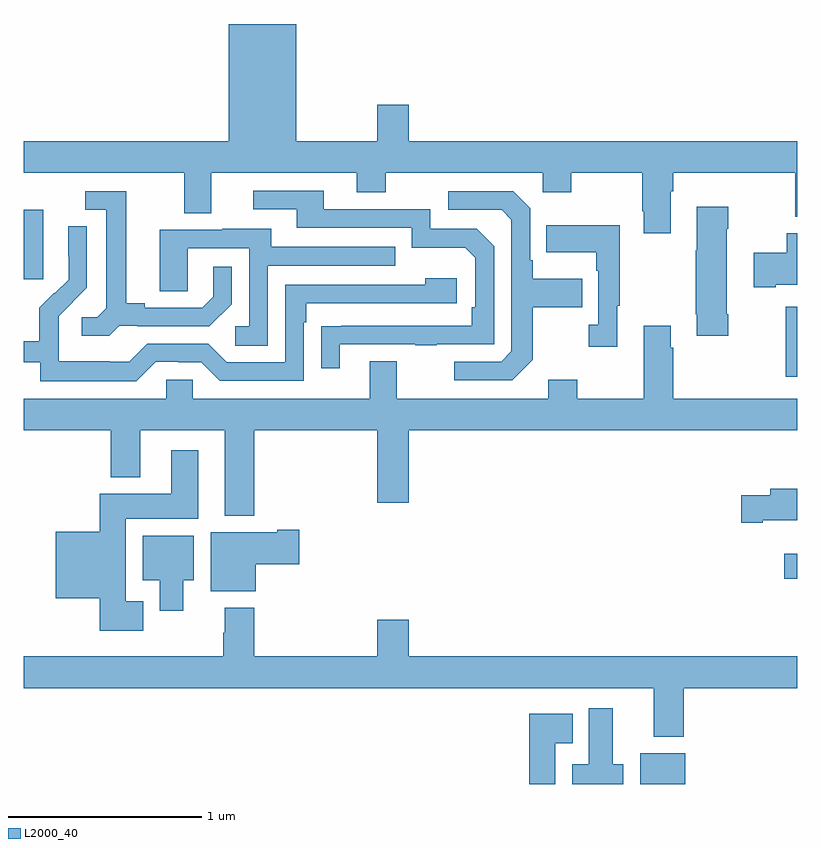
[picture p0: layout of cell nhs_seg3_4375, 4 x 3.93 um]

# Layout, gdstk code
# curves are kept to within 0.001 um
import gdstk
lib = gdstk.Library(unit=1e-6, precision=1e-09)
def R(c, l, rs):  # rectangles x0, y0, x1, y1
    for r in rs: c.add(gdstk.rectangle(r[:2], r[2:], *l))
def P(c, l, *ps):  # polygons
    for p in ps: c.add(gdstk.Polygon(p, *l))
L2000_40 = (2000, 40)

nhs_seg3_4375 = lib.new_cell('nhs_seg3_4375')
R(nhs_seg3_4375, L2000_40, [(346.187,720.4,346.42,720.559), (346.932,721.462,347,721.591), (346.94,722.507,347,722.869), (343,723.009,343.102,723.37)])
P(nhs_seg3_4375, L2000_40, [(344.992,723.913),(344.828,723.913),(344.828,723.724),(344.41,723.724),(344.41,724.33),(344.06,724.33),(344.06,723.724),(343,723.724),(343,723.56),(343.829,723.56),(343.829,723.352),(343.969,723.352),(343.969,723.56),(344.723,723.56),(344.723,723.461),(344.871,723.461),(344.871,723.56),(345.684,723.56),(345.684,723.461),(345.831,723.461),(345.831,723.56),(346.198,723.56),(346.198,723.361),(346.205,723.361),(346.205,723.249),(346.345,723.249),(346.345,723.464),(346.358,723.464),(346.358,723.56),(346.989,723.56),(346.989,723.332),(347,723.332),(347,723.724),(344.992,723.724)],
  [(344.635,722.673),(345.025,722.673),(345.025,722.668),(345.137,722.668),(345.137,722.673),(345.432,722.673),(345.432,723.18),(345.342,723.27),(345.102,723.27),(345.102,723.372),(344.551,723.372),(344.551,723.468),(344.187,723.468),(344.187,723.372),(344.411,723.372),(344.411,723.276),(345.006,723.276),(345.006,723.173),(345.283,723.173),(345.336,723.12),(345.336,722.866),(345.316,722.866),(345.316,722.769),(344.539,722.768),(344.539,722.55),(344.635,722.55)],
  [(343.494,722.769),(343.588,722.769),(343.588,722.766),(343.96,722.766),(344.076,722.882),(344.076,723.076),(343.979,723.076),(343.979,722.919),(343.922,722.862),(343.627,722.862),(343.627,722.885),(343.531,722.885),(343.531,723.465),(343.317,723.465),(343.317,723.369),(343.427,723.369),(343.427,722.861),(343.38,722.814),(343.299,722.814),(343.299,722.717),(343.442,722.717)],
  [(345.631,722.593),(345.631,722.866),(345.887,722.866),(345.887,723.013),(345.631,723.013),(345.631,723.109),(345.618,723.109),(345.618,723.378),(345.531,723.465),(345.195,723.465),(345.195,723.369),(345.471,723.369),(345.522,723.318),(345.522,722.637),(345.468,722.583),(345.225,722.583),(345.225,722.487),(345.525,722.487)],
  [(346.644,722.83),(346.636,722.83),(346.636,723.272),(346.644,723.272),(346.644,723.385),(346.481,723.385),(346.481,723.161),(346.474,723.161),(346.474,722.83),(346.481,722.83),(346.481,722.718),(346.644,722.718)],
  [(346.069,722.873),(346.081,722.873),(346.081,723.289),(345.703,723.289),(345.703,723.149),(345.96,723.149),(345.96,723.053),(345.972,723.053),(345.972,722.774),(345.921,722.774),(345.921,722.661),(346.069,722.661)],
  [(343.683,722.583),(343.799,722.583),(343.799,722.58),(343.917,722.58),(344.013,722.484),(344.448,722.484),(344.448,722.789),(344.461,722.789),(344.461,722.886),(345.238,722.886),(345.238,723.016),(345.077,723.016),(345.077,722.982),(344.352,722.982),(344.352,722.58),(344.049,722.58),(343.953,722.676),(343.638,722.676),(343.545,722.583),(343.445,722.583),(343.445,722.587),(343.182,722.587),(343.182,722.721),(343.18,722.721),(343.18,722.818),(343.326,722.966),(343.326,723.284),(343.23,723.284),(343.23,723.13),(343.232,723.13),(343.232,723.008),(343.161,722.937),(343.158,722.94),(343.081,722.863),(343.081,722.689),(343,722.689),(343,722.58),(343.086,722.58),(343.086,722.483),(343.583,722.483)],
  [(344.262,723.081),(344.921,723.081),(344.921,723.177),(344.281,723.177),(344.281,723.271),(344.027,723.271),(344.027,723.267),(343.703,723.267),(343.703,722.947),(343.848,722.947),(343.848,723.171),(344.166,723.171),(344.166,722.766),(344.094,722.766),(344.094,722.665),(344.262,722.665)],
  [(346.888,722.981),(347,722.981),(347,723.247),(346.945,723.247),(346.945,723.147),(346.776,723.147),(346.776,722.969),(346.888,722.969)],
  [(344.039,721.787),(344.192,721.787),(344.192,722.228),(344.828,722.228),(344.828,721.854),(344.992,721.854),(344.992,722.228),(347,722.228),(347,722.392),(346.358,722.392),(346.358,722.657),(346.345,722.657),(346.345,722.77),(346.205,722.77),(346.205,722.392),(345.861,722.392),(345.861,722.491),(345.713,722.491),(345.713,722.392),(344.929,722.392),(344.929,722.587),(344.789,722.587),(344.789,722.392),(343.875,722.392),(343.875,722.49),(343.737,722.49),(343.737,722.392),(343,722.392),(343,722.228),(343.451,722.228),(343.451,721.985),(343.603,721.985),(343.603,722.228),(344.039,722.228)],
  [(343.618,721.345),(343.528,721.345),(343.528,721.772),(343.903,721.772),(343.903,722.125),(343.763,722.125),(343.763,721.9),(343.394,721.9),(343.394,721.705),(343.166,721.705),(343.166,721.361),(343.394,721.361),(343.394,721.193),(343.618,721.193)],
  [(346.822,721.763),(347,721.763),(347,721.927),(346.859,721.927),(346.859,721.893),(346.71,721.893),(346.71,721.751),(346.822,721.751)],
  [(344.2,721.537),(344.425,721.537),(344.425,721.715),(344.312,721.715),(344.312,721.702),(343.967,721.702),(343.967,721.397),(344.2,721.397)],
  [(343.825,721.454),(343.879,721.454),(343.879,721.684),(343.616,721.684),(343.616,721.454),(343.703,721.454),(343.703,721.296),(343.825,721.296)],
  [(346.412,720.896),(347,720.896),(347,721.06),(344.992,721.06),(344.992,721.249),(344.828,721.249),(344.828,721.06),(344.192,721.06),(344.192,721.312),(344.039,721.312),(344.039,721.181),(344.032,721.181),(344.032,721.06),(343,721.06),(343,720.896),(346.259,720.896),(346.259,720.644),(346.412,720.644)],
  [(346.099,720.502),(346.045,720.502),(346.045,720.793),(345.923,720.793),(345.923,720.502),(345.836,720.502),(345.836,720.4),(346.099,720.4)],
  [(345.748,720.611),(345.838,720.611),(345.838,720.763),(345.614,720.763),(345.614,720.4),(345.748,720.4)])

lib.write_gds('nhs_seg3_4375.gds')
